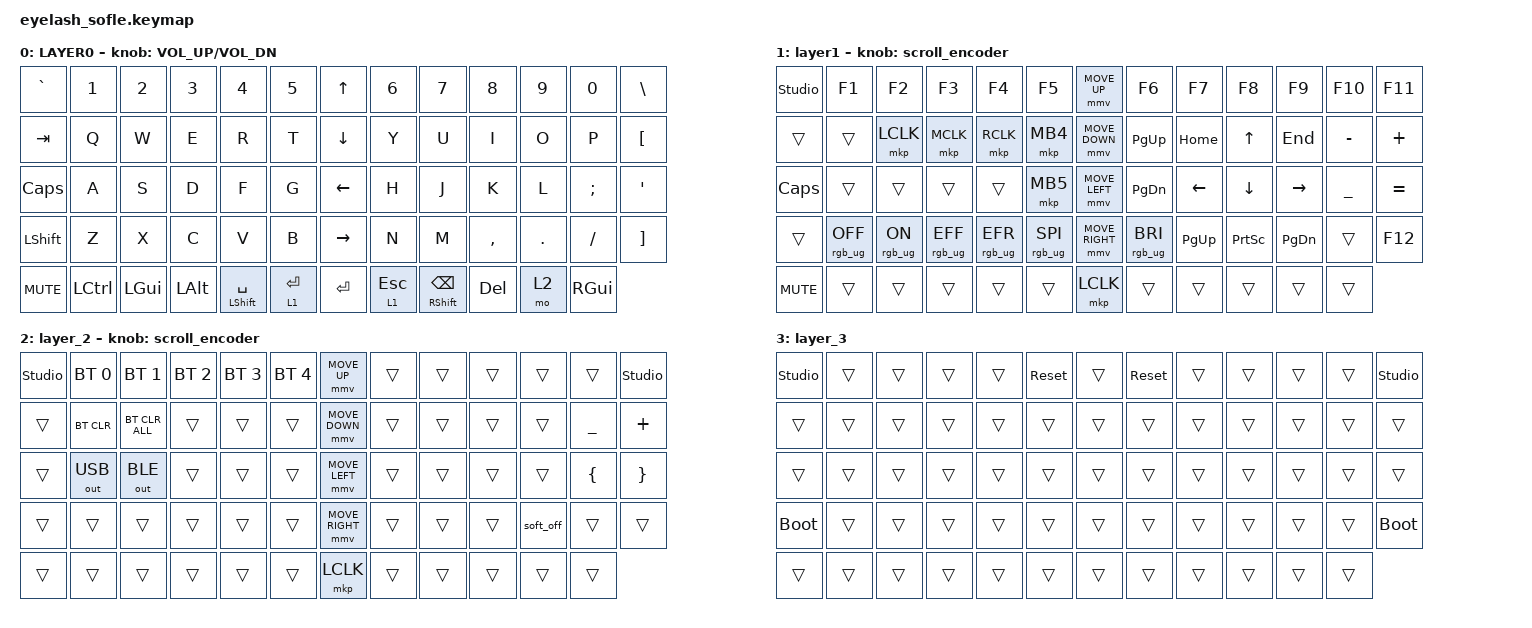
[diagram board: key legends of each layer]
#define ZMK_POINTING_DEFAULT_MOVE_VAL 1200  // 600
#define ZMK_POINTING_DEFAULT_SCRL_VAL 25   // 10

#include <input/processors.dtsi>
#include <zephyr/dt-bindings/input/input-event-codes.h>
#include <behaviors.dtsi>
#include <dt-bindings/zmk/bt.h>
#include <dt-bindings/zmk/keys.h>
#include <dt-bindings/zmk/outputs.h>
#include <dt-bindings/zmk/pointing.h>
#include <dt-bindings/zmk/rgb.h>

&mmv_input_listener { input-processors = <&zip_xy_scaler 2 1>; };

&msc_input_listener { input-processors = <&zip_scroll_scaler 2 1>; };

&msc {
    acceleration-exponent = <1>;      // 0
    time-to-max-speed-ms = <100>;       // 300
    delay-ms = <0>;                   // 0
};

&mmv {
    time-to-max-speed-ms = <500>;
    acceleration-exponent = <1>;
    trigger-period-ms = <16>;
};

&mt { quick-tap-ms = <200>; };

&lt { quick-tap-ms = <200>; };

/ {
    scroll_encoder: scroll_encoder {
        compatible = "zmk,behavior-sensor-rotate";
        #sensor-binding-cells = <0>;
        bindings = <&msc SCRL_DOWN>, <&msc SCRL_UP>;

        tap-ms = <100>;
    };

    behaviors {
    };

    keymap {
        compatible = "zmk,keymap";

        layer0 {
            bindings = <
&kp GRAVE       &kp N1     &kp N2        &kp N3        &kp N4                &kp N5         &kp UP_ARROW     &kp N6        &kp N7                     &kp N8      &kp N9   &kp N0         &kp BACKSLASH
&kp TAB         &kp Q      &kp W         &kp E         &kp R                 &kp T          &kp DOWN_ARROW   &kp Y         &kp U                      &kp I       &kp O    &kp P          &kp LEFT_BRACKET
&kp CAPSLOCK    &kp A      &kp S         &kp D         &kp F                 &kp G          &kp LEFT_ARROW   &kp H         &kp J                      &kp K       &kp L    &kp SEMI       &kp APOS
&kp LEFT_SHIFT  &kp Z      &kp X         &kp C         &kp V                 &kp B          &kp RIGHT_ARROW  &kp N         &kp M                      &kp COMMA   &kp DOT  &kp FSLH       &kp RIGHT_BRACKET
&kp C_MUTE      &kp LCTRL  &kp LEFT_GUI  &kp LEFT_ALT  &mt LEFT_SHIFT SPACE  &lt 1 ENTER    &kp ENTER        &lt 1 ESCAPE  &mt RIGHT_SHIFT BACKSPACE  &kp DELETE  &mo 2    &kp RIGHT_GUI
            >;

            sensor-bindings = <&inc_dec_kp C_VOLUME_UP C_VOL_DN>;
            display-name = "LAYER0";
        };

        layer_1 {
            bindings = <
&studio_unlock  &kp F1           &kp F2          &kp F3           &kp F4           &kp F5             &mmv MOVE_UP     &kp F6           &kp F7       &kp F8           &kp F9         &kp F10    &kp F11
&trans          &trans           &mkp LCLK       &mkp MCLK        &mkp RCLK        &mkp MB4           &mmv MOVE_DOWN   &kp PG_UP        &kp HOME     &kp UP           &kp END        &kp MINUS  &kp PLUS
&kp CAPSLOCK    &trans           &trans          &trans           &trans           &mkp MB5           &mmv MOVE_LEFT   &kp PG_DN        &kp LEFT     &kp DOWN         &kp RIGHT      &kp UNDER  &kp EQUAL
&trans          &rgb_ug RGB_OFF  &rgb_ug RGB_ON  &rgb_ug RGB_EFF  &rgb_ug RGB_EFR  &rgb_ug RGB_SPI    &mmv MOVE_RIGHT  &rgb_ug RGB_BRI  &kp PAGE_UP  &kp PRINTSCREEN  &kp PAGE_DOWN  &trans     &kp F12
&kp C_MUTE      &trans           &trans          &trans           &trans           &trans             &mkp LCLK        &trans           &trans       &trans           &trans         &trans
            >;

            display-name = "layer1";
            sensor-bindings = <&scroll_encoder>;
        };

        layer_2 {
            bindings = <
&studio_unlock  &bt BT_SEL 0  &bt BT_SEL 1    &bt BT_SEL 2  &bt BT_SEL 3  &bt BT_SEL 4    &mmv MOVE_UP     &trans  &trans  &trans  &trans     &trans     &studio_unlock
&trans          &bt BT_CLR    &bt BT_CLR_ALL  &trans        &trans        &trans          &mmv MOVE_DOWN   &trans  &trans  &trans  &trans     &kp UNDER  &kp PLUS
&trans          &out OUT_USB  &out OUT_BLE    &trans        &trans        &trans          &mmv MOVE_LEFT   &trans  &trans  &trans  &trans     &kp LBRC   &kp RBRC
&trans          &trans        &trans          &trans        &trans        &trans          &mmv MOVE_RIGHT  &trans  &trans  &trans  &soft_off  &trans     &trans
&trans          &trans        &trans          &trans        &trans        &trans          &mkp LCLK        &trans  &trans  &trans  &trans     &trans
            >;

            sensor-bindings = <&scroll_encoder>;
        };

        layer_3 {
            bindings = <
&studio_unlock  &trans  &trans  &trans  &trans  &sys_reset    &trans  &sys_reset  &trans  &trans  &trans  &trans  &studio_unlock
&trans          &trans  &trans  &trans  &trans  &trans        &trans  &trans      &trans  &trans  &trans  &trans  &trans
&trans          &trans  &trans  &trans  &trans  &trans        &trans  &trans      &trans  &trans  &trans  &trans  &trans
&bootloader     &trans  &trans  &trans  &trans  &trans        &trans  &trans      &trans  &trans  &trans  &trans  &bootloader
&trans          &trans  &trans  &trans  &trans  &trans        &trans  &trans      &trans  &trans  &trans  &trans
            >;
        };
    };

    conditional_layers {
        compatible = "zmk,conditional-layers";

        layer3 {
            if-layers = <1 2>;
            then-layer = <3>;
        };
    };
};
